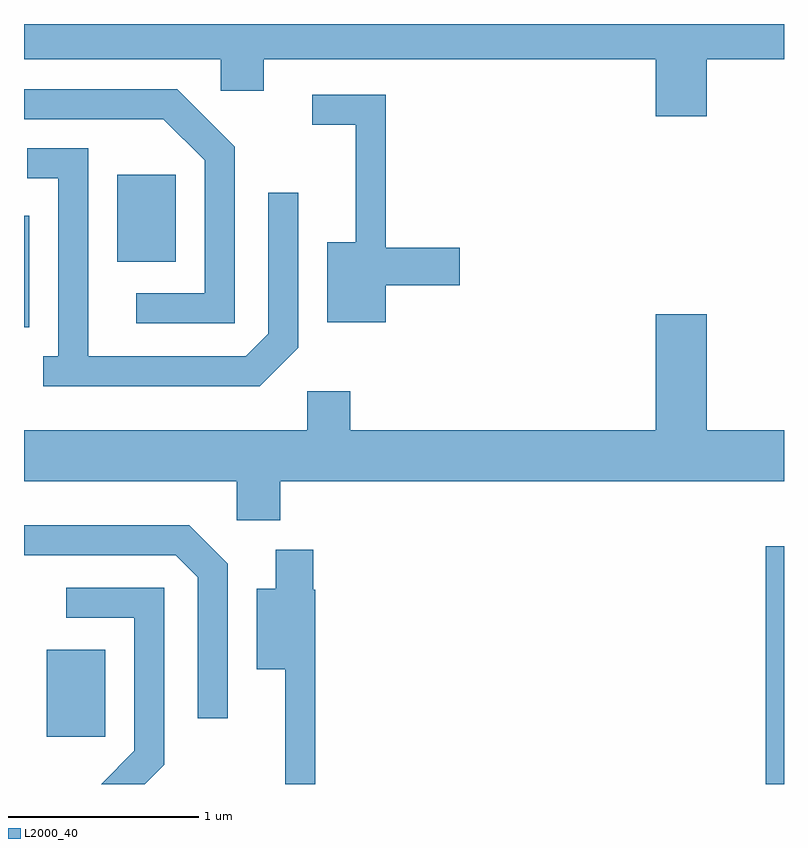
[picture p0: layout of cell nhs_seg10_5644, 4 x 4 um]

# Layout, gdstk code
import gdstk
lib = gdstk.Library(unit=1e-6, precision=1e-09)
def R(c, l, rs):  # rectangles x0, y0, x1, y1
    for r in rs: c.add(gdstk.rectangle(r[:2], r[2:], *l))
def P(c, l, *ps):  # polygons
    for p in ps: c.add(gdstk.Polygon(p, *l))
L2000_40 = (2000, 40)

nhs_seg10_5644 = lib.new_cell('nhs_seg10_5644')
R(nhs_seg10_5644, L2000_40, [(355.516,2134.522,355.611,2135.774), (351.731,2134.771,352.039,2135.229), (351.611,2136.926,351.639,2137.513), (352.101,2137.271,352.409,2137.729)])
P(nhs_seg10_5644, L2000_40, [(355.204,2138.336),(355.611,2138.336),(355.611,2138.522),(351.611,2138.522),(351.611,2138.336),(352.646,2138.336),(352.646,2138.171),(352.874,2138.171),(352.874,2138.336),(354.936,2138.336),(354.936,2138.036),(355.204,2138.036)],
  [(352.719,2137.877),(352.417,2138.179),(351.611,2138.179),(351.611,2138.021),(352.344,2138.021),(352.561,2137.804),(352.561,2137.104),(352.203,2137.104),(352.203,2136.946),(352.719,2136.946)],
  [(353.514,2137.146),(353.904,2137.146),(353.904,2137.344),(353.514,2137.344),(353.514,2138.149),(353.128,2138.149),(353.128,2137.991),(353.356,2137.991),(353.356,2137.374),(353.206,2137.374),(353.206,2136.951),(353.514,2136.951)],
  [(353.054,2136.819),(353.054,2137.633),(352.896,2137.633),(352.896,2136.892),(352.779,2136.774),(351.949,2136.774),(351.949,2137.869),(351.628,2137.869),(351.628,2137.711),(351.791,2137.711),(351.791,2136.774),(351.713,2136.774),(351.713,2136.616),(352.852,2136.616)],
  [(352.959,2136.116),(355.611,2136.116),(355.611,2136.384),(355.204,2136.384),(355.204,2136.994),(354.936,2136.994),(354.936,2136.384),(353.329,2136.384),(353.329,2136.589),(353.101,2136.589),(353.101,2136.384),(351.611,2136.384),(351.611,2136.116),(352.731,2136.116),(352.731,2135.911),(352.959,2135.911)],
  [(352.684,2135.682),(352.482,2135.884),(351.611,2135.884),(351.611,2135.726),(352.409,2135.726),(352.526,2135.609),(352.526,2134.868),(352.684,2134.868)],
  [(353.144,2135.545),(353.134,2135.545),(353.134,2135.754),(352.936,2135.754),(352.936,2135.549),(352.836,2135.549),(352.836,2135.126),(352.986,2135.126),(352.986,2134.522),(353.144,2134.522)],
  [(352.349,2134.624),(352.349,2135.554),(351.833,2135.554),(351.833,2135.396),(352.191,2135.396),(352.191,2134.697),(352.017,2134.522),(352.247,2134.522)])

lib.write_gds('nhs_seg10_5644.gds')
